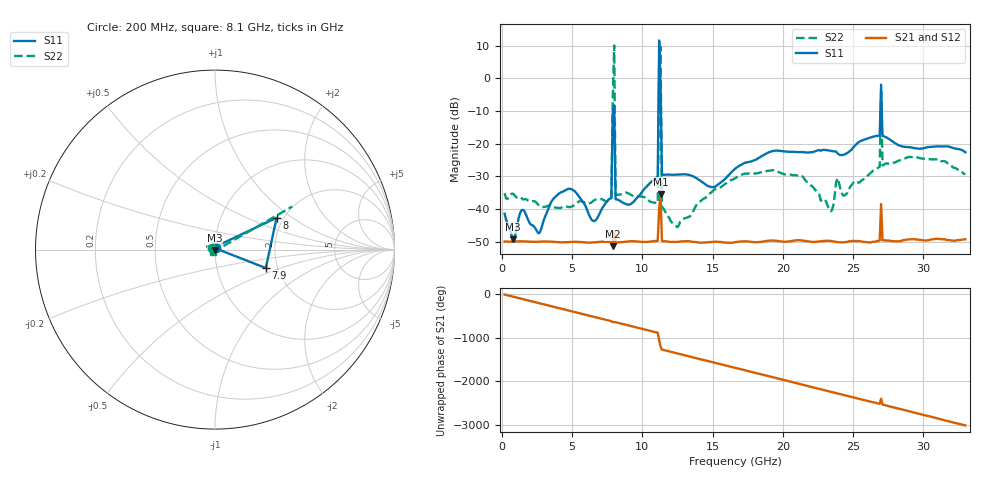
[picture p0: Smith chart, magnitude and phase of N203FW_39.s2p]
# GHZ S RI R 50
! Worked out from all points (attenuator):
!   329 points, 200 MHz to 33 GHz, reference 50 ohm
!   highest |S21| = -35.53 dB at 11.3 GHz (marker M1); lowest = -51.4 dB at 7.9 GHz (marker M2)
!   lowest |S11| = -49.3 dB at 800 MHz (marker M3), VSWR 1.01, Z = 49.9 - j0.337 ohm
!   |S11| at or under -10 dB: start of sweep to 7.919 GHz; 11.33 GHz to 26.95 GHz (15.62 GHz wide, 81.6 % of centre); 27.05 GHz to end of sweep (the widest 3 of 4)
!   |S22| runs from -45.5 to 10.1 dB; largest |S21 - S12| = 0.02
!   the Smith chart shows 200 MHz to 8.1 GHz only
!   S11 on the Smith chart (normalised r, x): 200 MHz: 1.01, +0.01; 7.9 GHz: 1.73, -0.39; 8 GHz: 1.84, +0.77; 8.1 GHz: 0.99, +0.03
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0.2  0.00556 0.0064  0.00305 -0.000894  0.00306 -0.000887  -0.0144 0.01
0.8  -0.000615 -0.00338  0.00139 -0.00287  0.00138 -0.00287  -0.0135 0.0105
1.4  -0.00909 -0.00295  -0.00125 -0.00294  -0.00125 -0.00295  -0.00799 0.0124
5.7  0.00599 0.0122  -0.000449 -0.00308  -0.000465 -0.00308  0.00618 -0.0114
7.8  -0.00905 0.0115  -0.000207 0.0031  -0.000215 0.00311  -0.00825 -0.0123
7.9  0.2832 -0.1027  0.000853 0.00256  0.000843 0.00247  0.4298 0.24
8  0.3432 0.1775  0.00124 0.00422  0.000545 0.00598  2.691 1.709
8.1  -0.0026 0.0138  0.00104 0.0029  0.00105 0.0029  -0.0112 -0.012
11.1  0.00351 0.031  -0.00322 -0.000529  -0.00321 -0.000526  -0.0113 0.00491
11.2  2.7 2.662  0.00918 0.00397  0.017 0.022  -0.7189 -0.8934
11.3  0.6938 0.374  -0.0098 -0.0136  -0.0107 -0.0109  0.4116 3.008
11.4  0.0208 0.0256  -0.00312 0.000887  -0.00312 0.000894  -0.00923 0.00551
12.5  0.0134 -0.0309  0.000713 0.00306  0.000722 0.00306  -0.00528 0.000189
16.6  -0.0338 0.0235  -0.00105 0.00293  -0.00105 0.00293  -0.0291 0.00421
22.1  -0.0313 -0.0675  0.00284 0.00134  0.00285 0.00134  0.0204 0.00899
23.4  -0.00846 0.0772  0.000584 -0.0032  0.000569 -0.0032  0.0086 -0.00334
23.9  0.0567 0.043  -0.00155 -0.0027  -0.00155 -0.0027  0.00741 -0.0288
26.9  0.0611 0.1173  0.0033 0.000208  0.00325 0.000177  -0.0399 0.0196
27  0.5893 -0.5427  -0.00607 0.0103  -0.00128 0.000633  -0.3939 0.4766
27.1  0.0977 0.0871  0.00322 -0.00076  0.00321 -0.000781  -0.0393 0.0245
27.6  0.114 -0.0239  0.00184 -0.00272  0.00188 -0.00269  -0.0358 0.0341
33  0.019 0.0712  -0.00225 -0.0026  -0.00225 -0.00257  0.0328 0.00898
